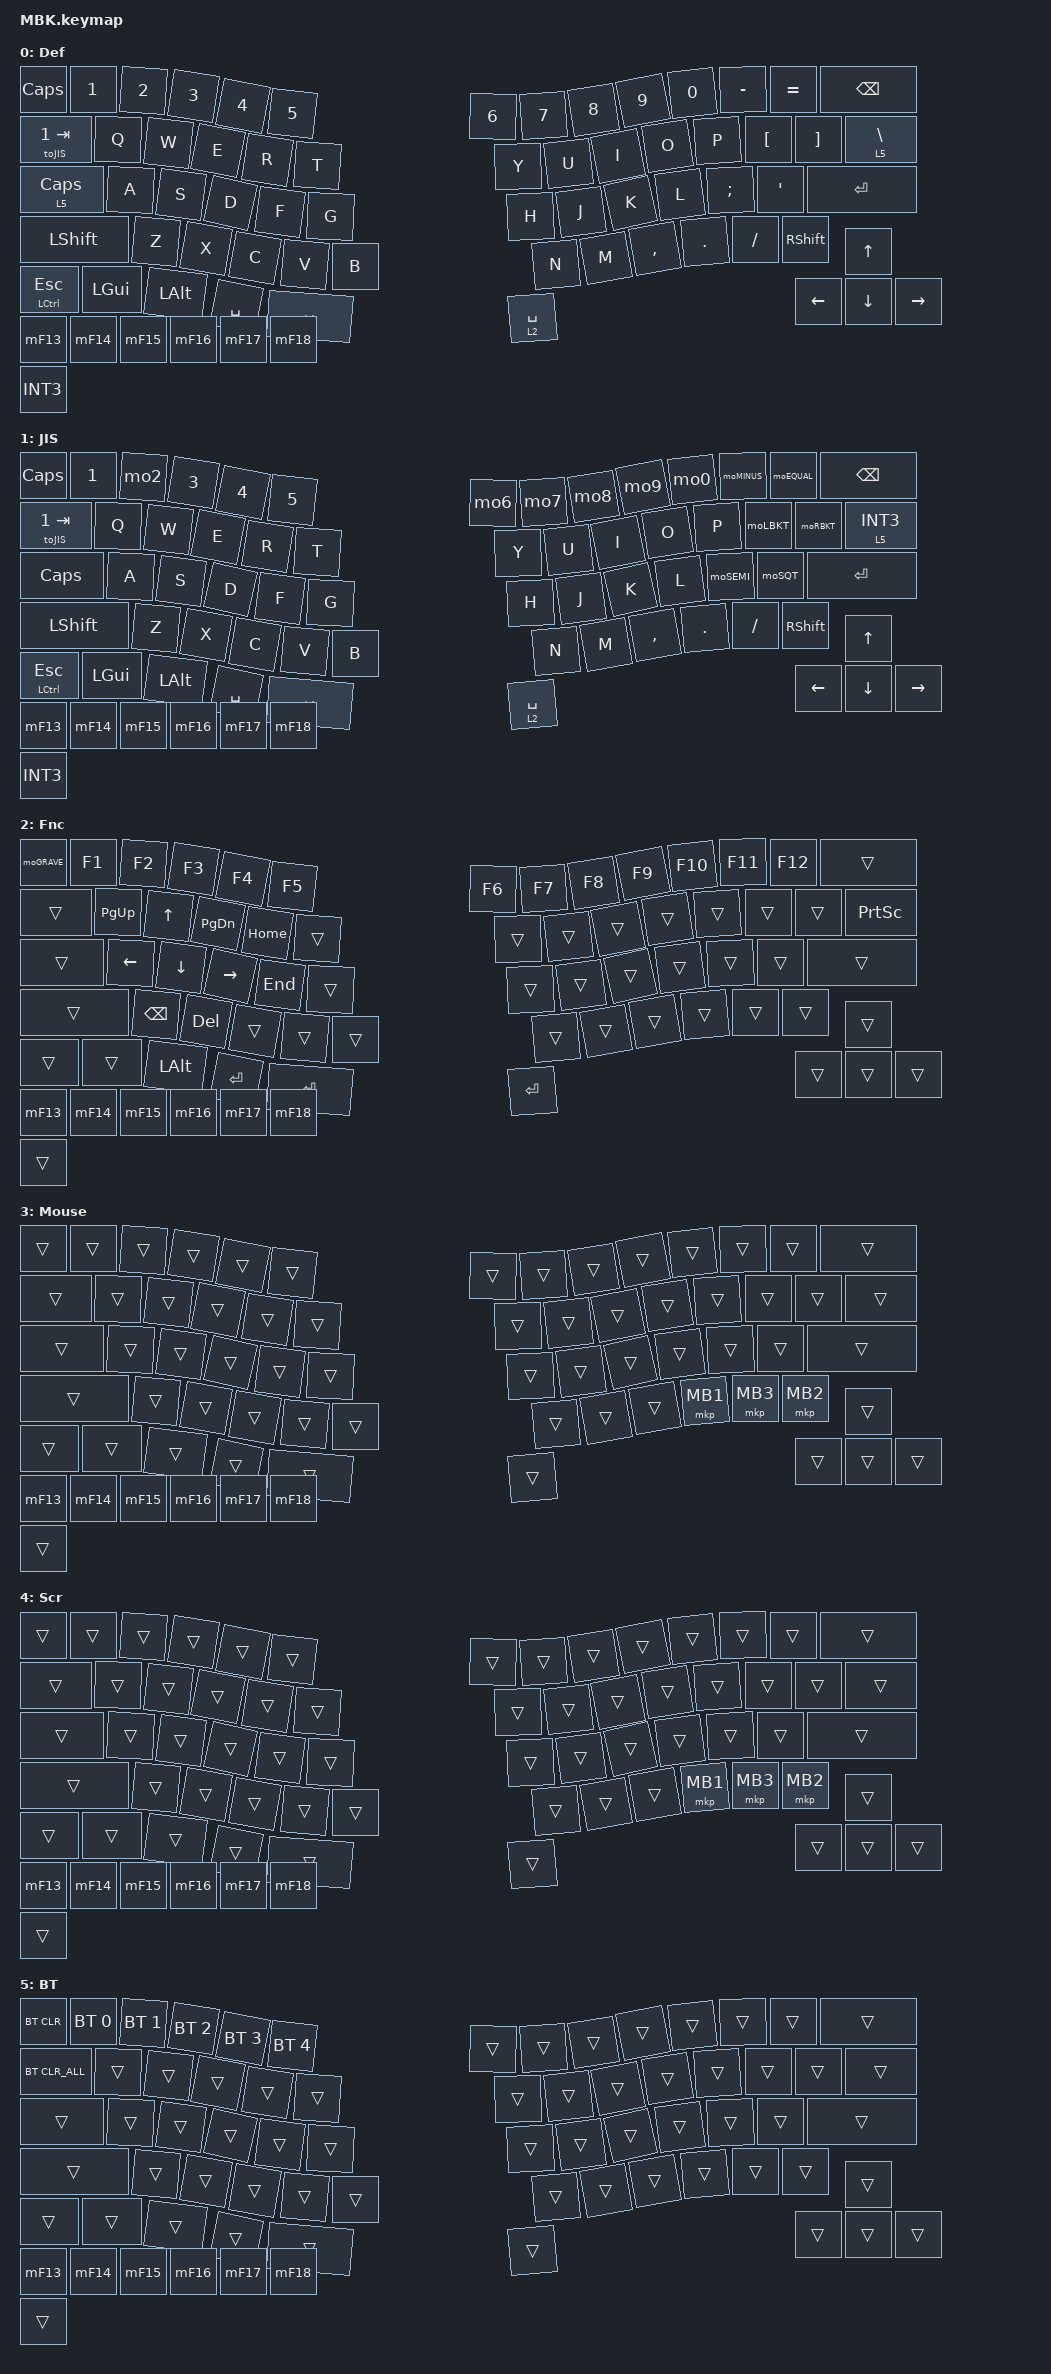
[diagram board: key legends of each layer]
#include <behaviors.dtsi>
#include <dt-bindings/zmk/keys.h>
#include <dt-bindings/zmk/pointing.h>
#include <dt-bindings/zmk/bt.h>
#include <dt-bindings/zmk/outputs.h>
#include <physical_layouts.dtsi>

#define DEF 0
#define JIS 1
#define FUNC 2
#define MOUSE 3
#define SCROLL 4
#define BT 5

/ {
	chosen {
		zmk,physical-layout = &layout_US;
	};
	
	layout_US: layout_US {
		compatible = "zmk,physical-layout";
		display-name = "US";
		transform = <&default_transform>;
		kscan = <&kscan0>;
		
		keys//                    w   h    x    y     rot    rx    ry
		= <&key_physical_attrs 100 100    0    0       0     0     0>
		, <&key_physical_attrs 100 100  100    0       0     0     0>
		, <&key_physical_attrs 100 100  201    2     375   251    52>
		, <&key_physical_attrs 100 100  301   13     875   351    63>
		, <&key_physical_attrs 100 100  400   33    1125   450    83>
		, <&key_physical_attrs 100 100  499   48     625   549    98>
		, <&key_physical_attrs 100 100  900   54     125   950   104>
		, <&key_physical_attrs 100 100 1001   52  (-375)  1051   102>
		, <&key_physical_attrs 100 100 1101   41  (-875)  1151    91>
		, <&key_physical_attrs 100 100 1200   22 (-1125)  1250    72>
		, <&key_physical_attrs 100 100 1299    7  (-625)  1349    57>
		, <&key_physical_attrs 100 100 1400    0  (-125)  1450    50>
		, <&key_physical_attrs 100 100 1500    0       0     0     0>
		, <&key_physical_attrs 200 100 1600    0       0     0     0>
		, <&key_physical_attrs 100 100    0  600       0     0     0>
		, <&key_physical_attrs 150 100    0  100       0     0     0>
		, <&key_physical_attrs 100 100  150  100     125   200   150>
		, <&key_physical_attrs 100 100  251  107     625   301   157>
		, <&key_physical_attrs 100 100  350  122    1125   400   172>
		, <&key_physical_attrs 100 100  449  141     875   499   191>
		, <&key_physical_attrs 100 100  549  152     375   599   202>
		, <&key_physical_attrs 100 100  950  154  (-125)  1000   204>
		, <&key_physical_attrs 100 100 1051  148  (-625)  1101   198>
		, <&key_physical_attrs 100 100 1150  133 (-1125)  1200   183>
		, <&key_physical_attrs 100 100 1249  113  (-875)  1299   163>
		, <&key_physical_attrs 100 100 1349  102  (-375)  1399   152>
		, <&key_physical_attrs 100 100 1450  100       0     0     0>
		, <&key_physical_attrs 100 100 1550  100       0     0     0>
		, <&key_physical_attrs 150 100 1650  100       0     0     0>
		, <&key_physical_attrs 175 100    0  200       0     0     0>
		, <&key_physical_attrs 100 100  175  201     250   225   251>
		, <&key_physical_attrs 100 100  276  210     750   326   260>
		, <&key_physical_attrs 100 100  375  227    1250   425   277>
		, <&key_physical_attrs 100 100  474  245     750   524   295>
		, <&key_physical_attrs 100 100  575  254     250   625   304>
		, <&key_physical_attrs 100 100  975  254  (-250)  1025   304>
		, <&key_physical_attrs 100 100 1076  245  (-750)  1126   295>
		, <&key_physical_attrs 100 100 1175  227 (-1250)  1225   277>
		, <&key_physical_attrs 100 100 1274  210  (-750)  1324   260>
		, <&key_physical_attrs 100 100 1375  201  (-250)  1425   251>
		, <&key_physical_attrs 100 100 1475  200       0     0     0>
		, <&key_physical_attrs 225 100 1575  200       0     0     0>
		, <&key_physical_attrs 225 100    0  300       0     0     0>
		, <&key_physical_attrs 100 100  226  304     500   276   354>
		, <&key_physical_attrs 100 100  326  318    1000   376   368>
		, <&key_physical_attrs 100 100  424  337    1000   474   387>
		, <&key_physical_attrs 100 100  524  350     500   574   400>
		, <&key_physical_attrs 100 100  625  355       0     0     0>
		, <&key_physical_attrs 100 100 1026  350  (-500)  1076   400>
		, <&key_physical_attrs 100 100 1126  337 (-1000)  1176   387>
		, <&key_physical_attrs 100 100 1224  318 (-1000)  1274   368>
		, <&key_physical_attrs 100 100 1324  304  (-500)  1374   354>
		, <&key_physical_attrs 100 100 1425  300       0     0     0>
		, <&key_physical_attrs 100 100 1525  300       0     0     0>
		, <&key_physical_attrs 100 100 1650  325       0     0     0>
		, <&key_physical_attrs 125 100    0  400       0     0     0>
		, <&key_physical_attrs 125 100  125  400       0     0     0>
		, <&key_physical_attrs 125 100  253  409     700   316   459>
		, <&key_physical_attrs 100 100  325  445    1195   457   785>
		, <&key_physical_attrs 175 100  473  455     445   585   801>
		, <&key_physical_attrs 100 100 1002  455  (-445)  1065   801>
		, <&key_physical_attrs 100 100 1550  425       0     0     0>
		, <&key_physical_attrs 100 100 1650  425       0     0     0>
		, <&key_physical_attrs 100 100 1750  425       0     0     0>
		
		, <&key_physical_attrs 100 100 0     500       0     0     0>
		, <&key_physical_attrs 100 100 100   500       0     0     0>
		, <&key_physical_attrs 100 100 200   500       0     0     0>
		, <&key_physical_attrs 100 100 300   500       0     0     0>
		, <&key_physical_attrs 100 100 400   500       0     0     0>
		, <&key_physical_attrs 100 100 500   500       0     0     0>
		;
	};
		
	position_map {
		compatible = "zmk,physical-layout-position-map";
		// complete;
		
		layout_US {
			physical-layout = <&layout_US>;
			positions
			= < 0  1  2  3  4  5  6  7  8  9 10 11 12 13 14>
			, <15 16 17 18 19 20 21 22 23 24 25 26 27 28   >
			, <29 30 31 32 33 34 35 36 37 38 39 40    41   >
			, <42 43 44 45 46 47 48 49 50 51 52 53 54 55   >
			, <56 57 58 59 60                      61 62 63>
			;
		};
		
		layout_JIS {
			physical-layout = <&layout_JIS>;
			positions
			= < 0  1  2  3  4  5  6  7  8  9 10 11 12 13 14>
			, <15 16 17 18 19 20 21 22 23 24 25 26 27  28  >
			, <29 30 31 32 33 34 35 36 37 38 39 40 41      >
			, <42 43 44 45 46 47 48 49 50 51 52 53 54 55   >
			, <56 57 58 59 60                      61 62 63>
			;
		};
	};
	
	// behaviors {
	// 	leader1: leader1 {
    //         compatible = "zmk,behavior-leader-key";
    //         #binding-cells = <0>;
    //         leftdown { sequence = <F14 F15>; bindings = <&kp PG_DN>; };
    //         out { sequence = <O U T>; bindings = <&out OUT_TOG>; };
    //     };
    //     leader2: leader2 {
    //         compatible = "zmk,behavior-leader-key";
    //         #binding-cells = <0>;
    //         leftup   { sequence = <F14 F13>; bindings = <&kp PG_UP>; };
    //     };
    //     leader3: leader3 {
    //         compatible = "zmk,behavior-leader-key";
    //         #binding-cells = <0>;
    //         rightdown { sequence = <F17 F18>; bindings = <&kp END>; };
    //     };
    //     leader4: leader4 {
    //         compatible = "zmk,behavior-leader-key";
    //         #binding-cells = <0>;
    //         rightup   { sequence = <F17 F16>; bindings = <&kp HOME>; };
    //     };
	// 	mF13: mF13 {
    //         compatible = "zmk,behavior-macro";
    //         #binding-cells = <0>;
    //         bindings = <&macro_tap &kp F13>
    //                  , <&leader1>;
    //     };
    //     mF14: mF14 {
    //         compatible = "zmk,behavior-macro";
    //         #binding-cells = <0>;
    //         bindings = <&macro_tap &kp F14>;
    //     };
    //     mF15: mF15 {
    //         compatible = "zmk,behavior-macro";
    //         #binding-cells = <0>;
    //         bindings = <&macro_tap &kp F15>
    //                  , <&leader2>;
    //     };
    //     mF16: mF16 {
    //         compatible = "zmk,behavior-macro";
    //         #binding-cells = <0>;
    //         bindings = <&macro_tap &kp F16>
    //                 , <&leader3>;
    //     };
    //     mF17: mF17 {
    //         compatible = "zmk,behavior-macro";
    //         #binding-cells = <0>;
    //         bindings = <&macro_tap &kp F17>;
    //     };
    //     mF18: mF18 {
    //         compatible = "zmk,behavior-macro";
    //         #binding-cells = <0>;
    //         bindings = <&macro_tap &kp F18>
    //                 , <&leader4>;
    //     };
	};
	
	keymap {
		compatible = "zmk,keymap";
		default_layer {
			label="Def";
			bindings = <
			&kp CAPS       &kp N1    &kp N2     &kp N3     &kp N4     &kp N5       &kp N6    &kp N7     &kp N8     &kp N9     &kp N0    &kp MINUS  &kp EQUAL      &kp BKSP  &kp INT3
			&toJIS 1 TAB   &kp Q     &kp W      &kp E      &kp R      &kp T        &kp Y     &kp U      &kp I      &kp O      &kp P     &kp LBKT   &kp RBKT       &lt 5 BSLH
			&lt 5 CAPS     &kp A     &kp S      &kp D      &kp F      &kp G        &kp H     &kp J      &kp K      &kp L      &kp SEMI  &kp SQT                   &kp ENTER
			&kp LSHFT      &kp Z     &kp X      &kp C      &kp V      &kp B        &kp N     &kp M      &kp COMMA  &kp DOT    &kp FSLH  &kp RSHFT                 &kp UP
			&mt LCTL ESC   &kp LGUI  &kp LALT   &kp SPACE  &lt 2 SPACE             &lt 2 SPACE                                                           &kp LEFT &kp DOWN &kp RIGHT
			&mF13            &mF14            &mF15            &mF16            &mF17            &mF18
			>;
		};
		
		jis_layer {
			label="JIS";
			bindings = <
			&kp CAPS       &kp N1    &mo2       &kp N3     &kp N4     &kp N5       &mo6      &mo7       &mo8       &mo9       &mo0      &moMINUS   &moEQUAL        &kp BKSP  &kp INT3
			&toJIS 1 TAB   &kp Q     &kp W      &kp E      &kp R      &kp T        &kp Y     &kp U      &kp I      &kp O      &kp P     &moLBKT    &moRBKT         &lt 5 INT3
			&kp CAPS       &kp A     &kp S      &kp D      &kp F      &kp G        &kp H     &kp J      &kp K      &kp L      &moSEMI   &moSQT                     &kp ENTER
			&kp LSHFT      &kp Z     &kp X      &kp C      &kp V      &kp B        &kp N     &kp M      &kp COMMA  &kp DOT    &kp FSLH  &kp RSHFT                  &kp UP
			&mt LCTL ESC   &kp LGUI  &kp LALT   &kp SPACE  &lt 2 SPACE             &lt 2 SPACE                                                        &kp LEFT &kp DOWN &kp RIGHT
			&mF13            &mF14            &mF15            &mF16            &mF17            &mF18
			>;
		};
		
		function_layer {
			label="Fnc";
			bindings = <
			&moGRAVE      &kp F1     &kp F2     &kp F3     &kp F4     &kp F5       &kp F6    &kp F7     &kp F8     &kp F9     &kp F10   &kp F11    &kp F12         &trans   &trans
			&trans        &kp PG_UP  &kp UP     &kp PG_DN  &kp HOME   &trans       &trans    &trans     &trans     &trans     &trans    &trans     &trans          &kp PSCRN
			&trans        &kp LEFT   &kp DOWN   &kp RIGHT  &kp END    &trans       &trans    &trans     &trans     &trans     &trans    &trans                     &trans
			&trans        &kp BKSP   &kp DEL    &trans     &trans     &trans       &trans    &trans     &trans     &trans     &trans    &trans                     &trans
			&trans        &trans     &kp LALT   &kp ENTER  &kp ENTER               &kp ENTER                                                              &trans   &trans   &trans
			&mF13            &mF14            &mF15            &mF16            &mF17            &mF18
			>;
		};
		
		mouse_layer {
			label="Mouse";
			bindings = <
			&trans        &trans     &trans     &trans     &trans     &trans       &trans    &trans     &trans     &trans     &trans    &trans     &trans          &trans   &trans
			&trans        &trans     &trans     &trans     &trans     &trans       &trans    &trans     &trans     &trans     &trans    &trans     &trans          &trans
			&trans        &trans     &trans     &trans     &trans     &trans       &trans    &trans     &trans     &trans     &trans    &trans                     &trans
			&trans        &trans     &trans     &trans     &trans     &trans       &trans    &trans     &trans     &mkp MB1   &mkp MB3  &mkp MB2                   &trans
			&trans        &trans     &trans                &trans     &trans       &trans                                                                 &trans   &trans   &trans
			&mF13            &mF14            &mF15            &mF16            &mF17            &mF18
			>;
		};
		
		scroll_layer {
			label="Scr";
			bindings = <
			&trans        &trans     &trans     &trans     &trans     &trans       &trans    &trans     &trans     &trans     &trans    &trans     &trans          &trans   &trans
			&trans        &trans     &trans     &trans     &trans     &trans       &trans    &trans     &trans     &trans     &trans    &trans     &trans          &trans
			&trans        &trans     &trans     &trans     &trans     &trans       &trans    &trans     &trans     &trans     &trans    &trans                     &trans
			&trans        &trans     &trans     &trans     &trans     &trans       &trans    &trans     &trans     &mkp MB1   &mkp MB3  &mkp MB2                   &trans
			&trans        &trans     &trans                &trans     &trans       &trans                                                                 &trans   &trans   &trans
			&mF13            &mF14            &mF15            &mF16            &mF17            &mF18
			>;
		};
		
		bt_layer {
			label="BT";
			bindings = <
			&bt BT_CLR     &bt BT_SEL 0 &bt BT_SEL 1 &bt BT_SEL 2 &bt BT_SEL 3 &bt BT_SEL 4  &trans   &trans   &trans   &trans   &trans  &trans    &trans          &trans   &trans
			&bt BT_CLR_ALL &trans       &trans       &trans       &trans       &trans        &trans   &trans   &trans   &trans   &trans  &trans    &trans          &trans
			&trans         &trans       &trans       &trans       &trans       &trans        &trans   &trans   &trans   &trans   &trans  &trans                    &trans
			&trans         &trans       &trans       &trans       &trans       &trans        &trans   &trans   &trans   &trans   &trans  &trans                    &trans
			&trans         &trans       &trans       &trans       &trans                     &trans                                                       &trans   &trans   &trans
			&mF13            &mF14            &mF15            &mF16            &mF17            &mF18
			>;
		};
	};
};
